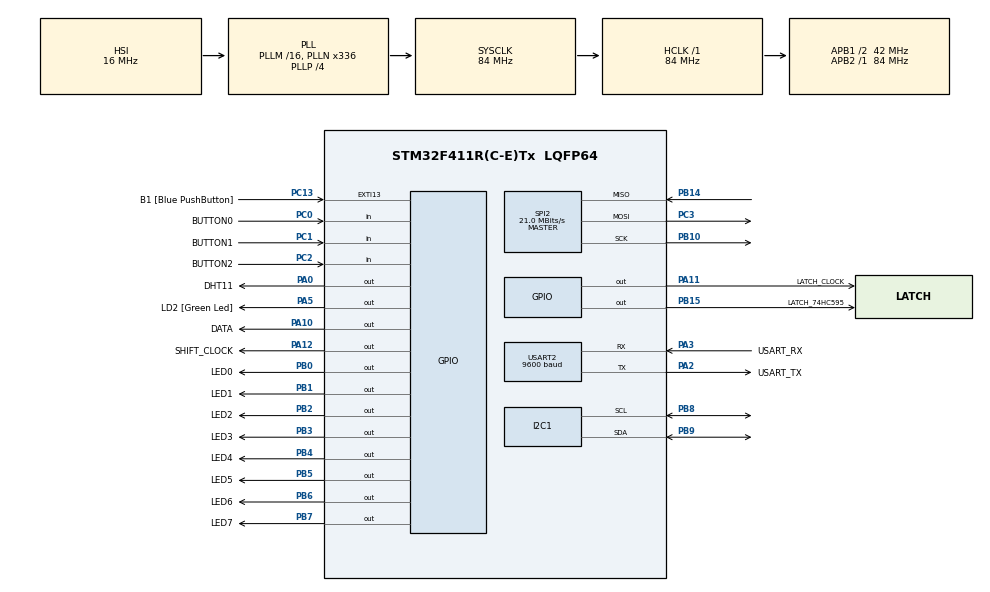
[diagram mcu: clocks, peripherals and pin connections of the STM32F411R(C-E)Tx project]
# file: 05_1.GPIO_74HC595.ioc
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FREERTOS.Tasks01=defaultTask,24,128,StartDefaultTask,Default,NULL,Dynamic,NULL,NULL;myTask01,8,128,StartTask01,Default,NULL,Dynamic,NULL,NULL;myTask02,8,128,StartTask02,Default,NULL,Dynamic,NULL,NULL
FREERTOS.configUSE_NEWLIB_REENTRANT=1
Mcu.Family=STM32F4
Mcu.Name=STM32F411R(C-E)Tx
Mcu.Package=LQFP64
NVIC.PriorityGroup=NVIC_PRIORITYGROUP_4
NVIC.TIM1_UP_TIM10_IRQn=true\:5\:0\:false\:false\:true\:false\:false\:true
NVIC.TIM2_IRQn=true\:5\:0\:false\:false\:true\:true\:true\:true
NVIC.TimeBase=TIM1_UP_TIM10_IRQn
NVIC.TimeBaseIP=TIM10
NVIC.USART2_IRQn=true\:5\:0\:false\:false\:true\:true\:true\:true
PA0-WKUP.GPIO_Label=DHT11
PA0-WKUP.Signal=GPIO_Output
PA10.GPIO_Label=DATA
PA10.Signal=GPIO_Output
PA11.GPIO_Label=LATCH_CLOCK
PA11.Signal=GPIO_Output
PA12.GPIO_Label=SHIFT_CLOCK
PA12.Signal=GPIO_Output
PA13.GPIO_Label=TMS
PA13.Mode=Serial_Wire
PA13.Signal=SYS_JTMS-SWDIO
PA14.GPIO_Label=TCK
PA14.Mode=Serial_Wire
PA14.Signal=SYS_JTCK-SWCLK
PA2.GPIO_Label=USART_TX
PA2.Mode=Asynchronous
PA2.Signal=USART2_TX
PA3.GPIO_Label=USART_RX
PA3.Mode=Asynchronous
PA3.Signal=USART2_RX
PA5.GPIO_Label=LD2 [Green Led]
PA5.Signal=GPIO_Output
PB0.GPIO_Label=LED0
PB0.Signal=GPIO_Output
PB1.GPIO_Label=LED1
PB1.Signal=GPIO_Output
PB10.Mode=Full_Duplex_Master
PB10.Signal=SPI2_SCK
PB14.Mode=Full_Duplex_Master
PB14.Signal=SPI2_MISO
PB15.GPIO_Label=LATCH_74HC595
PB15.Signal=GPIO_Output
PB2.GPIO_Label=LED2
PB2.Signal=GPIO_Output
PB3.GPIO_Label=LED3
PB3.Signal=GPIO_Output
PB4.GPIO_Label=LED4
PB4.Signal=GPIO_Output
PB5.GPIO_Label=LED5
PB5.Signal=GPIO_Output
PB6.GPIO_Label=LED6
PB6.Signal=GPIO_Output
PB7.GPIO_Label=LED7
PB7.Signal=GPIO_Output
PB8.Mode=I2C
PB8.Signal=I2C1_SCL
PB9.Mode=I2C
PB9.Signal=I2C1_SDA
PC0.GPIO_Label=BUTTON0
PC0.Signal=GPIO_Input
PC1.GPIO_Label=BUTTON1
PC1.Signal=GPIO_Input
PC13-ANTI_TAMP.GPIO_Label=B1 [Blue PushButton]
PC13-ANTI_TAMP.GPIO_ModeDefaultEXTI=GPIO_MODE_IT_FALLING
PC13-ANTI_TAMP.Signal=GPXTI13
PC14-OSC32_IN.Mode=LSE-External-Oscillator
PC14-OSC32_IN.Signal=RCC_OSC32_IN
PC15-OSC32_OUT.Mode=LSE-External-Oscillator
PC15-OSC32_OUT.Signal=RCC_OSC32_OUT
PC2.GPIO_Label=BUTTON2
PC2.Signal=GPIO_Input
PC3.Mode=Full_Duplex_Master
PC3.Signal=SPI2_MOSI
PH0\ -\ OSC_IN.Mode=HSE-External-Clock-Source
PH0\ -\ OSC_IN.Signal=RCC_OSC_IN
PH1\ -\ OSC_OUT.Mode=HSE-External-Clock-Source
PH1\ -\ OSC_OUT.Signal=RCC_OSC_OUT
ProjectManager.HeapSize=0x200
ProjectManager.StackSize=0x400
ProjectManager.TargetToolchain=STM32CubeIDE
RCC.48MHZClocksFreq_Value=84000000
RCC.AHBFreq_Value=84000000
RCC.APB1CLKDivider=RCC_HCLK_DIV2
RCC.APB1Freq_Value=42000000
RCC.APB1TimFreq_Value=84000000
RCC.APB2Freq_Value=84000000
RCC.APB2TimFreq_Value=84000000
RCC.CortexFreq_Value=84000000
RCC.FLatency-AdvancedSettings=FLASH_LATENCY_2
RCC.HCLKFreq_Value=84000000
RCC.HSE_VALUE=8000000
RCC.HSI_VALUE=16000000
RCC.PLLN=336
RCC.PLLP=RCC_PLLP_DIV4
RCC.SYSCLKFreq_VALUE=84000000
RCC.SYSCLKSource=RCC_SYSCLKSOURCE_PLLCLK
RCC.VCOOutputFreq_Value=336000000
RTC.Date=24
RTC.Hours=13
RTC.Minutes=22
RTC.Month=RTC_MONTH_MAY
RTC.WeekDay=RTC_WEEKDAY_FRIDAY
RTC.Year=24
SPI2.CalculateBaudRate=21.0 MBits/s
SPI2.Direction=SPI_DIRECTION_2LINES
SPI2.Mode=SPI_MODE_MASTER
SPI2.VirtualType=VM_MASTER
TIM11.Period=65535
TIM11.Prescaler=84-1
TIM2.Period=1000-1
TIM2.Prescaler=84-1
USART2.BaudRate=9600
USART2.VirtualMode=VM_ASYNC
VP_FREERTOS_VS_CMSIS_V2.Mode=CMSIS_V2
VP_RTC_VS_RTC_Activate.Mode=RTC_Enabled
VP_RTC_VS_RTC_Calendar.Mode=RTC_Calendar
VP_SYS_VS_tim10.Mode=TIM10
VP_TIM11_VS_ClockSourceINT.Mode=Enable_Timer
VP_TIM2_VS_ClockSourceINT.Mode=Internal
board=NUCLEO-F411RE

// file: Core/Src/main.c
/* USER CODE BEGIN Header */
/**
  ******************************************************************************
  * @file           : main.c
  * @brief          : Main program body
  ******************************************************************************
  * @attention
  *
  * <h2><center>&copy; Copyright (c) 2024 STMicroelectronics.
  * All rights reserved.</center></h2>
  *
  * This software component is licensed by ST under BSD 3-Clause license,
  * the "License"; You may not use this file except in compliance with the
  * License. You may obtain a copy of the License at:
  *                        opensource.org/licenses/BSD-3-Clause
  *
  ******************************************************************************
  */
/* USER CODE END Header */
#include "main.h"
#include "cmsis_os.h"

/* USER CODE BEGIN Includes */
#include "data_shift.h"
/* USER CODE END Includes */

I2C_HandleTypeDef hi2c1;

RTC_HandleTypeDef hrtc;

SPI_HandleTypeDef hspi2;

TIM_HandleTypeDef htim2;
TIM_HandleTypeDef htim11;

UART_HandleTypeDef huart2;

/* Definitions for defaultTask */
osThreadId_t defaultTaskHandle;
const osThreadAttr_t defaultTask_attributes = {
  .name = "defaultTask",
  .stack_size = 128 * 4,
  .priority = (osPriority_t) osPriorityNormal,
};
/* Definitions for myTask01 */
osThreadId_t myTask01Handle;
const osThreadAttr_t myTask01_attributes = {
  .name = "myTask01",
  .stack_size = 128 * 4,
  .priority = (osPriority_t) osPriorityLow,
};
/* Definitions for myTask02 */
osThreadId_t myTask02Handle;
const osThreadAttr_t myTask02_attributes = {
  .name = "myTask02",
  .stack_size = 128 * 4,
  .priority = (osPriority_t) osPriorityLow,
};
/* USER CODE BEGIN PV */
uint8_t rx_data;

volatile int TIM2_1ms_counter=0;
volatile int TIM3_10ms_counter = 0;
volatile int TIM2_DHT11_counter = 0;
volatile int TIM2_74HC595_counter = 0;
/* USER CODE END PV */

void SystemClock_Config(void);
static void MX_GPIO_Init(void);
static void MX_USART2_UART_Init(void);
static void MX_TIM11_Init(void);
static void MX_TIM2_Init(void);
static void MX_RTC_Init(void);
static void MX_I2C1_Init(void);
static void MX_SPI2_Init(void);
void StartDefaultTask(void *argument);
void StartTask01(void *argument);
void StartTask02(void *argument);

/* USER CODE BEGIN PFP */
extern void led_all_on(void);
extern void led_all_off(void);
extern void led2_toggle(void);
extern void led_on_up();
extern void led_on_down();
extern void ledbar0_toggle(void);
extern void ledbar1_toggle(void);
extern void ledbar2_toggle(void);
extern void led_main(void);
extern void button0_check(void);
extern void delay_us(unsigned int us);
extern void DHT11_Init(void);
extern void i2c_lcd_init(void);
extern void get_rtc_date_time(void);
extern unsigned char bcd2dec(unsigned char byte);
extern void pc_command_processing();
extern void led_74hc595_demo(void);
void dotmatrix_main_test();

/* USER CODE END PFP */

/* USER CODE BEGIN 0 */
//-- call by SysTick_Handler of stm32f4xx_it.c
// SysTick_Handler : ARM core default timer
volatile int t1ms_counter=0;
void HAL_SYSTICK_Handler()
{
	t1ms_counter++;   // 1ms timer counter
}
//------------ printf start -----------------------
#ifdef __GNUC__    // Add for printf
/* With GCC, small printf (option LD Linker->Libraries->Small printf
   set to 'Yes') calls __io_putchar() */
#define PUTCHAR_PROTOTYPE int __io_putchar(int ch)
#else
#define PUTCHAR_PROTOTYPE int fputc(int ch, FILE *f)
#endif /* __GNUC__ */
/**
  * @brief  Retargets the C library printf function to the USART.
  * @param  None
  * @retval None
  */
PUTCHAR_PROTOTYPE   // Add for printf
{
  /* Place your implementation of fputc here */
  /* e.g. write a character to the USART2 and Loop until the end of transmission */
  HAL_UART_Transmit(&huart2, (uint8_t *)&ch, 1, 0xFFFF);

  return ch;
}
//-------------------- printf end --------------------
/* USER CODE END 0 */

int main(void)
{
  /* USER CODE BEGIN 1 */
	int led_state=0;
  /* USER CODE END 1 */

  /* MCU Configuration--------------------------------------------------------*/

  /* Reset of all peripherals, Initializes the Flash interface and the Systick. */
  HAL_Init();

  /* Configure the system clock */
  SystemClock_Config();

  /* Initialize all configured peripherals */
  MX_GPIO_Init();
  MX_USART2_UART_Init();
  MX_TIM11_Init();
  MX_TIM2_Init();
  MX_RTC_Init();
  MX_I2C1_Init();
  MX_SPI2_Init();
  /* USER CODE BEGIN 2 */
  HAL_UART_Receive_IT(&huart2, &rx_data, 1);   // assign RX INT
  HAL_TIM_Base_Start_IT(&htim2);  // ADD_SIKWON_0523
  HAL_TIM_Base_Start_IT(&htim11);  // ADD_SIKWON_0523
//  DHT11_Init();
//  i2c_lcd_init(); // warning lcd should be connected(because I2C protocol doesn't working)
  /* USER CODE END 2 */

  /* Init scheduler */
  osKernelInitialize();

  /* Create the thread(s) */
  /* creation of defaultTask */
  defaultTaskHandle = osThreadNew(StartDefaultTask, NULL, &defaultTask_attributes);

  /* creation of myTask01 */
  myTask01Handle = osThreadNew(StartTask01, NULL, &myTask01_attributes);

  /* creation of myTask02 */
  myTask02Handle = osThreadNew(StartTask02, NULL, &myTask02_attributes);

  /* Start scheduler */
  osKernelStart();

  /* We should never get here as control is now taken by the scheduler */
  /* Infinite loop */
  /* USER CODE BEGIN WHILE */
  //dotmatrix_main_test();
  while (1)
  {
//	  led_on_up();
//	  led_on_down();

#if 0
	  if (t1ms_counter >= 500)
	  {
		  t1ms_counter=0;
		  switch(led_state)
		  {
		  case 0:
			  led_all_on();
			  break;
		  case 1:
			  led_all_off();
			  break;
		  case 2:
			  led2_toggle();
			  break;
		  }
		  led_state++;
		  led_state %=3;
	  }
#endif
    /* USER CODE END WHILE */

    /* USER CODE BEGIN 3 */
// enter here !!!!!!
  }
  /* USER CODE END 3 */
}

void SystemClock_Config(void)
{
  RCC_OscInitTypeDef RCC_OscInitStruct = {0};
  RCC_ClkInitTypeDef RCC_ClkInitStruct = {0};

  /** Configure the main internal regulator output voltage
  */
  __HAL_RCC_PWR_CLK_ENABLE();
  __HAL_PWR_VOLTAGESCALING_CONFIG(PWR_REGULATOR_VOLTAGE_SCALE1);
  /** Initializes the RCC Oscillators according to the specified parameters
  * in the RCC_OscInitTypeDef structure.
  */
  RCC_OscInitStruct.OscillatorType = RCC_OSCILLATORTYPE_HSI|RCC_OSCILLATORTYPE_LSI;
  RCC_OscInitStruct.HSIState = RCC_HSI_ON;
  RCC_OscInitStruct.HSICalibrationValue = RCC_HSICALIBRATION_DEFAULT;
  RCC_OscInitStruct.LSIState = RCC_LSI_ON;
  RCC_OscInitStruct.PLL.PLLState = RCC_PLL_ON;
  RCC_OscInitStruct.PLL.PLLSource = RCC_PLLSOURCE_HSI;
  RCC_OscInitStruct.PLL.PLLM = 16;
  RCC_OscInitStruct.PLL.PLLN = 336;
  RCC_OscInitStruct.PLL.PLLP = RCC_PLLP_DIV4;
  RCC_OscInitStruct.PLL.PLLQ = 4;
  if (HAL_RCC_OscConfig(&RCC_OscInitStruct) != HAL_OK)
  {
    Error_Handler();
  }
  /** Initializes the CPU, AHB and APB buses clocks
  */
  RCC_ClkInitStruct.ClockType = RCC_CLOCKTYPE_HCLK|RCC_CLOCKTYPE_SYSCLK
                              |RCC_CLOCKTYPE_PCLK1|RCC_CLOCKTYPE_PCLK2;
  RCC_ClkInitStruct.SYSCLKSource = RCC_SYSCLKSOURCE_PLLCLK;
  RCC_ClkInitStruct.AHBCLKDivider = RCC_SYSCLK_DIV1;
  RCC_ClkInitStruct.APB1CLKDivider = RCC_HCLK_DIV2;
  RCC_ClkInitStruct.APB2CLKDivider = RCC_HCLK_DIV1;

  if (HAL_RCC_ClockConfig(&RCC_ClkInitStruct, FLASH_LATENCY_2) != HAL_OK)
  {
    Error_Handler();
  }
}

static void MX_I2C1_Init(void)
{

  hi2c1.Instance = I2C1;
  hi2c1.Init.ClockSpeed = 100000;
  hi2c1.Init.DutyCycle = I2C_DUTYCYCLE_2;
  hi2c1.Init.OwnAddress1 = 0;
  hi2c1.Init.AddressingMode = I2C_ADDRESSINGMODE_7BIT;
  hi2c1.Init.DualAddressMode = I2C_DUALADDRESS_DISABLE;
  hi2c1.Init.OwnAddress2 = 0;
  hi2c1.Init.GeneralCallMode = I2C_GENERALCALL_DISABLE;
  hi2c1.Init.NoStretchMode = I2C_NOSTRETCH_DISABLE;
  if (HAL_I2C_Init(&hi2c1) != HAL_OK)
  {
    Error_Handler();
  }

}

static void MX_RTC_Init(void)
{

  RTC_TimeTypeDef sTime = {0};
  RTC_DateTypeDef sDate = {0};

  /** Initialize RTC Only
  */
  hrtc.Instance = RTC;
  hrtc.Init.HourFormat = RTC_HOURFORMAT_24;
  hrtc.Init.AsynchPrediv = 127;
  hrtc.Init.SynchPrediv = 255;
  hrtc.Init.OutPut = RTC_OUTPUT_DISABLE;
  hrtc.Init.OutPutPolarity = RTC_OUTPUT_POLARITY_HIGH;
  hrtc.Init.OutPutType = RTC_OUTPUT_TYPE_OPENDRAIN;
  if (HAL_RTC_Init(&hrtc) != HAL_OK)
  {
    Error_Handler();
  }

  /** Initialize RTC and set the Time and Date
  */
  sTime.Hours = 0x13;
  sTime.Minutes = 0x22;
  sTime.Seconds = 0x0;
  sTime.DayLightSaving = RTC_DAYLIGHTSAVING_NONE;
  sTime.StoreOperation = RTC_STOREOPERATION_RESET;
  if (HAL_RTC_SetTime(&hrtc, &sTime, RTC_FORMAT_BCD) != HAL_OK)
  {
    Error_Handler();
  }
  sDate.WeekDay = RTC_WEEKDAY_FRIDAY;
  sDate.Month = RTC_MONTH_MAY;
  sDate.Date = 0x24;
  sDate.Year = 0x24;

  if (HAL_RTC_SetDate(&hrtc, &sDate, RTC_FORMAT_BCD) != HAL_OK)
  {
    Error_Handler();
  }

}

static void MX_SPI2_Init(void)
{

  /* SPI2 parameter configuration*/
  hspi2.Instance = SPI2;
  hspi2.Init.Mode = SPI_MODE_MASTER;
  hspi2.Init.Direction = SPI_DIRECTION_2LINES;
  hspi2.Init.DataSize = SPI_DATASIZE_8BIT;
  hspi2.Init.CLKPolarity = SPI_POLARITY_LOW;
  hspi2.Init.CLKPhase = SPI_PHASE_1EDGE;
  hspi2.Init.NSS = SPI_NSS_SOFT;
  hspi2.Init.BaudRatePrescaler = SPI_BAUDRATEPRESCALER_2;
  hspi2.Init.FirstBit = SPI_FIRSTBIT_MSB;
  hspi2.Init.TIMode = SPI_TIMODE_DISABLE;
  hspi2.Init.CRCCalculation = SPI_CRCCALCULATION_DISABLE;
  hspi2.Init.CRCPolynomial = 10;
  if (HAL_SPI_Init(&hspi2) != HAL_OK)
  {
    Error_Handler();
  }

}

static void MX_TIM2_Init(void)
{

  TIM_ClockConfigTypeDef sClockSourceConfig = {0};
  TIM_MasterConfigTypeDef sMasterConfig = {0};

  htim2.Instance = TIM2;
  htim2.Init.Prescaler = 84-1;
  htim2.Init.CounterMode = TIM_COUNTERMODE_UP;
  htim2.Init.Period = 1000-1;
  htim2.Init.ClockDivision = TIM_CLOCKDIVISION_DIV1;
  htim2.Init.AutoReloadPreload = TIM_AUTORELOAD_PRELOAD_DISABLE;
  if (HAL_TIM_Base_Init(&htim2) != HAL_OK)
  {
    Error_Handler();
  }
  sClockSourceConfig.ClockSource = TIM_CLOCKSOURCE_INTERNAL;
  if (HAL_TIM_ConfigClockSource(&htim2, &sClockSourceConfig) != HAL_OK)
  {
    Error_Handler();
  }
  sMasterConfig.MasterOutputTrigger = TIM_TRGO_RESET;
  sMasterConfig.MasterSlaveMode = TIM_MASTERSLAVEMODE_DISABLE;
  if (HAL_TIMEx_MasterConfigSynchronization(&htim2, &sMasterConfig) != HAL_OK)
  {
    Error_Handler();
  }

}

static void MX_TIM11_Init(void)
{

  htim11.Instance = TIM11;
  htim11.Init.Prescaler = 84-1;
  htim11.Init.CounterMode = TIM_COUNTERMODE_UP;
  htim11.Init.Period = 65535;
  htim11.Init.ClockDivision = TIM_CLOCKDIVISION_DIV1;
  htim11.Init.AutoReloadPreload = TIM_AUTORELOAD_PRELOAD_DISABLE;
  if (HAL_TIM_Base_Init(&htim11) != HAL_OK)
  {
    Error_Handler();
  }

}

static void MX_USART2_UART_Init(void)
{

  huart2.Instance = USART2;
  huart2.Init.BaudRate = 9600;
  huart2.Init.WordLength = UART_WORDLENGTH_8B;
  huart2.Init.StopBits = UART_STOPBITS_1;
  huart2.Init.Parity = UART_PARITY_NONE;
  huart2.Init.Mode = UART_MODE_TX_RX;
  huart2.Init.HwFlowCtl = UART_HWCONTROL_NONE;
  huart2.Init.OverSampling = UART_OVERSAMPLING_16;
  if (HAL_UART_Init(&huart2) != HAL_OK)
  {
    Error_Handler();
  }

}

static void MX_GPIO_Init(void)
{
  GPIO_InitTypeDef GPIO_InitStruct = {0};

  /* GPIO Ports Clock Enable */
  __HAL_RCC_GPIOC_CLK_ENABLE();
  __HAL_RCC_GPIOH_CLK_ENABLE();
  __HAL_RCC_GPIOA_CLK_ENABLE();
  __HAL_RCC_GPIOB_CLK_ENABLE();

  /*Configure GPIO pin Output Level */
  HAL_GPIO_WritePin(GPIOA, DHT11_Pin|LD2_Pin|DATA_Pin|LATCH_CLOCK_Pin
                          |SHIFT_CLOCK_Pin, GPIO_PIN_RESET);

  /*Configure GPIO pin Output Level */
  HAL_GPIO_WritePin(GPIOB, LED0_Pin|LED1_Pin|LED2_Pin|LATCH_74HC595_Pin
                          |LED3_Pin|LED4_Pin|LED5_Pin|LED6_Pin
                          |LED7_Pin, GPIO_PIN_RESET);

  /*Configure GPIO pin : B1_Pin */
  GPIO_InitStruct.Pin = B1_Pin;
  GPIO_InitStruct.Mode = GPIO_MODE_IT_FALLING;
  GPIO_InitStruct.Pull = GPIO_NOPULL;
  HAL_GPIO_Init(B1_GPIO_Port, &GPIO_InitStruct);

  /*Configure GPIO pins : BUTTON0_Pin BUTTON1_Pin BUTTON2_Pin */
  GPIO_InitStruct.Pin = BUTTON0_Pin|BUTTON1_Pin|BUTTON2_Pin;
  GPIO_InitStruct.Mode = GPIO_MODE_INPUT;
  GPIO_InitStruct.Pull = GPIO_NOPULL;
  HAL_GPIO_Init(GPIOC, &GPIO_InitStruct);

  /*Configure GPIO pins : DHT11_Pin LD2_Pin DATA_Pin LATCH_CLOCK_Pin
                           SHIFT_CLOCK_Pin */
  GPIO_InitStruct.Pin = DHT11_Pin|LD2_Pin|DATA_Pin|LATCH_CLOCK_Pin
                          |SHIFT_CLOCK_Pin;
  GPIO_InitStruct.Mode = GPIO_MODE_OUTPUT_PP;
  GPIO_InitStruct.Pull = GPIO_NOPULL;
  GPIO_InitStruct.Speed = GPIO_SPEED_FREQ_LOW;
  HAL_GPIO_Init(GPIOA, &GPIO_InitStruct);

  /*Configure GPIO pins : LED0_Pin LED1_Pin LED2_Pin LATCH_74HC595_Pin
                           LED3_Pin LED4_Pin LED5_Pin LED6_Pin
                           LED7_Pin */
  GPIO_InitStruct.Pin = LED0_Pin|LED1_Pin|LED2_Pin|LATCH_74HC595_Pin
                          |LED3_Pin|LED4_Pin|LED5_Pin|LED6_Pin
                          |LED7_Pin;
  GPIO_InitStruct.Mode = GPIO_MODE_OUTPUT_PP;
  GPIO_InitStruct.Pull = GPIO_NOPULL;
  GPIO_InitStruct.Speed = GPIO_SPEED_FREQ_LOW;
  HAL_GPIO_Init(GPIOB, &GPIO_InitStruct);

}

void StartDefaultTask(void *argument)
{
  /* USER CODE BEGIN 5 */
  /* Infinite loop */
  for(;;)  // while(1)
  {
//	  second_led_74hc595_demo();
	  if(TIM2_1ms_counter>=1000){
		  TIM2_1ms_counter = 0;
		  shift_main();
	  }
    osDelay(1);
  }
  /* USER CODE END 5 */
}

void StartTask01(void *argument)
{
  /* USER CODE BEGIN StartTask01 */
  /* Infinite loop */
  for(;;)
  {
	  //ddotmatrix_main_test();
	// led2_toggle();
    osDelay(1);
  }
  /* USER CODE END StartTask01 */
}

void StartTask02(void *argument)
{
  /* USER CODE BEGIN StartTask02 */
  /* Infinite loop */
  for(;;)
  {
	  //dotmatrix_main_test();
	  //DHT11_processing();
	  osDelay(1);
  }
  /* USER CODE END StartTask02 */
}

void HAL_TIM_PeriodElapsedCallback(TIM_HandleTypeDef *htim)
{
  /* USER CODE BEGIN Callback 0 */
//////
  /* USER CODE END Callback 0 */
  if (htim->Instance == TIM10) {
    HAL_IncTick();
  }
  /* USER CODE BEGIN Callback 1 */
	if (htim->Instance == TIM2)
	{
		TIM2_1ms_counter++;
		TIM2_DHT11_counter++;
		TIM2_74HC595_counter++;
	}
  /* USER CODE END Callback 1 */
}

void Error_Handler(void)
{
  __disable_irq();
  while (1)
  {
  }
}

/************************ (C) COPYRIGHT STMicroelectronics *****END OF FILE****/
